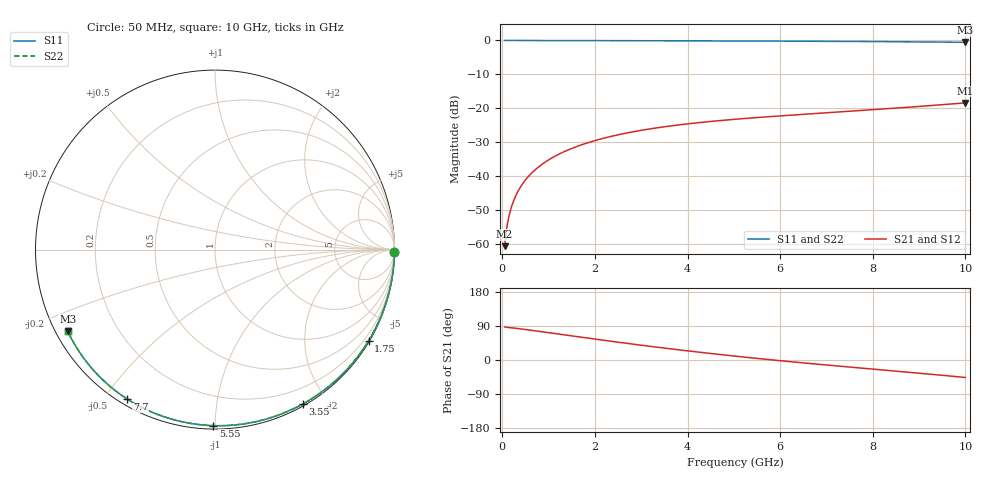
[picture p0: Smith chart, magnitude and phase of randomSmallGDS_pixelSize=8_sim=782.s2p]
! freq	dB(S11)	phase(S11)	dB(S12)	phase(S12)
!  dB(S21)	phase(S21)	dB(S22)	phase(S22)
!S-par simulation data
#  GHz  S  DB  R 50
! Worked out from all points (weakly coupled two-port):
!   200 points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, 50 MHz to 10 GHz, reference 50 ohm
!   highest |S21| = -18.41 dB at 10 GHz (marker M1); lowest = -60.7 dB at 50 MHz (marker M2)
!   lowest |S11| = -0.6 dB at 10 GHz (marker M3), VSWR 31.35, Z = 1.7 - j13 ohm
!   |S11| at or under -10 dB: nowhere
!   |S22| runs from -0.6 to 0.0 dB; largest |S21 - S12| = 0
!   S11 on the Smith chart (normalised r, x): 50 MHz: open; 1.75 GHz: 0.04, -3.66; 3.55 GHz: 0.02, -1.72; 5.55 GHz: 0.02, -0.99; 7.7 GHz: 0.02, -0.57; 10 GHz: 0.03, -0.26
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0.05  -0.00 -0.9  -60.68 87.3  -60.68 87.3  -0.00 -0.9
0.1  -0.00 -1.8  -54.86 86.2  -54.86 86.2  -0.00 -1.8
0.15  -0.00 -2.7  -51.45 85.6  -51.45 85.6  -0.00 -2.7
0.2  -0.00 -3.6  -49.01 85.0  -49.01 85.0  -0.00 -3.6
0.25  -0.00 -4.5  -47.10 84.3  -47.10 84.3  -0.00 -4.5
0.35  -0.00 -6.2  -44.21 82.9  -44.21 82.9  -0.00 -6.2
0.5  -0.01 -8.9  -41.15 80.5  -41.15 80.5  -0.01 -8.9
0.7  -0.01 -12.4  -38.26 77.1  -38.26 77.1  -0.01 -12.4
1  -0.02 -17.7  -35.23 72.0  -35.23 72.0  -0.02 -17.7
1.35  -0.03 -23.7  -32.72 66.1  -32.72 66.1  -0.03 -23.7
1.75  -0.04 -30.6  -30.60 59.3  -30.60 59.3  -0.04 -30.6
2.5  -0.06 -43.2  -27.83 46.9  -27.83 46.9  -0.06 -43.3
3.4  -0.09 -57.9  -25.65 32.9  -25.65 32.9  -0.09 -57.9
3.55  -0.09 -60.3  -25.37 30.7  -25.37 30.7  -0.09 -60.3
4.3  -0.12 -72.0  -24.16 19.9  -24.16 19.9  -0.12 -72.0
5.05  -0.15 -83.3  -23.22 9.9  -23.22 9.9  -0.15 -83.3
5.55  -0.17 -90.6  -22.69 3.6  -22.69 3.6  -0.17 -90.6
6.7  -0.23 -106.8  -21.62 -9.9  -21.62 -9.9  -0.23 -106.8
7.7  -0.30 -120.4  -20.72 -20.8  -20.72 -20.8  -0.30 -120.4
8.35  -0.36 -129.0  -20.11 -27.8  -20.11 -27.8  -0.36 -129.0
9.2  -0.45 -140.3  -19.26 -37.0  -19.26 -37.0  -0.45 -140.3
10  -0.55 -150.9  -18.41 -46.1  -18.41 -46.1  -0.55 -150.9
